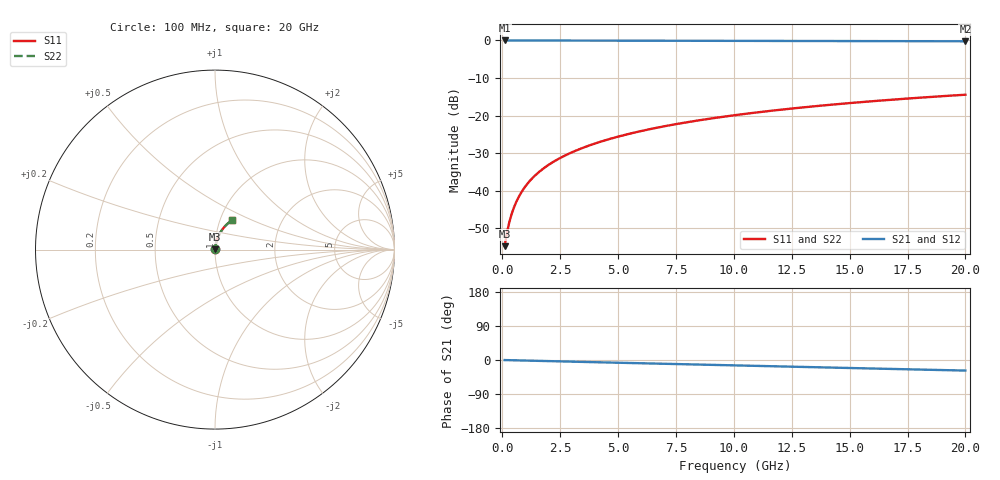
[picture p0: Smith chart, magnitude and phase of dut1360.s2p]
! Touchstone file exported from HFSS 2026.1.0
!  File:  C:/ffzhzh/LocalFiles/Ansys_Project_Files/temp_train_BSMRDL_1360_1783179178_51560.aedt
!  Generated:  11:34:11 PM Jul  4, 2026
!  Design:  BSMRDL
!  Project:  temp_train_BSMRDL_1360_1783179178_51560
! Variables:
!  h_bsmrdl = 5.55um
!  h_ox = 20um
!  h_rdl = 5um
!  h_sub = 80um
!  h_tmrdl = 5um
!  h_tsv = 80um
!  h_via = 3um
!  l_bsmrdl = 438.07um
!  l_sub = 838.07um
!  l_tmrdl = 200um
!  m_sub = 200um
!  pitch = 41.68um
!  r_tsv = 6um
!  s_tmrdl = 10um
!  w_bsmrdl = 24.59um
!  w_sub = 500um
!  w_tmrdl = 12um
!  x_tsv_center1 = 206um
!  x_tsv_center2 = 668.66um
!  x_tsv_center3 = 880.66um
!  x_tsv_center4 = 1343.32um
!  x_tsv_center5 = 1555.32um
!  x_tsv_center6 = 2017.98um
# GHz S MA R 50.000000
! Terminal data exported
! Port[1] = BSM_RDL1_1_T1
! Port[2] = BSM_RDL1_1_T2
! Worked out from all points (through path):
!   200 points, 100 MHz to 20 GHz, reference 50 ohm
!   highest |S21| = -0.01 dB at 100 MHz (marker M1); lowest = -0.2 dB at 20 GHz (marker M2)
!   group delay of S21, straight-line fit = 3.87 ps
!   lowest |S11| = -54.7 dB at 100 MHz (marker M3), VSWR 1.00, Z = 50.1 + j0.126 ohm
!   |S11| at or under -10 dB: start of sweep to end of sweep
!   |S22| runs from -54.7 to -14.4 dB; largest |S21 - S12| = 2.7e-15
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0.1  0.001832 43.4  0.9987 -0.2  0.9987 -0.2  0.001832 43.4
! Gamma 0 0 0 0
! Port Impedance 50 0 50 0
0.2  0.002751 62.5  0.9985 -0.3  0.9985 -0.3  0.002754 62.5
0.3  0.003788 70.7  0.9984 -0.5  0.9984 -0.5  0.003793 70.7
0.4  0.004867 74.8  0.9984 -0.6  0.9984 -0.6  0.004872 74.8
0.5  0.005962 77.2  0.9983 -0.7  0.9983 -0.7  0.005968 77.2
0.6  0.007066 78.6  0.9982 -0.9  0.9982 -0.9  0.007072 78.6
0.8  0.009274 80.1  0.9981 -1.2  0.9981 -1.2  0.00928 80.2
1.1  0.01256 81.0  0.998 -1.6  0.998 -1.6  0.01257 81.0
1.3  0.01472 81.2  0.9979 -1.9  0.9979 -1.9  0.01473 81.2
1.5  0.01686 81.3  0.9978 -2.2  0.9978 -2.2  0.01687 81.3
1.8  0.02004 81.2  0.9976 -2.6  0.9976 -2.6  0.02004 81.2
2.1  0.02317 81.0  0.9973 -3.1  0.9973 -3.1  0.02317 81.0
2.7  0.02935 80.6  0.9968 -3.9  0.9968 -3.9  0.02935 80.6
3.5  0.03747 79.9  0.9961 -5.1  0.9961 -5.1  0.03747 79.9
4.2  0.04451 79.2  0.9954 -6.1  0.9954 -6.1  0.04451 79.2
5  0.05248 78.4  0.9946 -7.2  0.9946 -7.2  0.05248 78.4
6.8  0.07016 76.3  0.9927 -9.7  0.9927 -9.7  0.07016 76.3
8.3  0.08466 74.5  0.991 -11.8  0.991 -11.8  0.08466 74.5
10.1  0.1018 72.3  0.9889 -14.3  0.9889 -14.3  0.1018 72.3
13.4  0.1323 68.1  0.9844 -18.9  0.9844 -18.9  0.1323 68.1
16.7  0.1616 63.9  0.9793 -23.4  0.9793 -23.4  0.1616 63.9
20  0.1895 59.6  0.9737 -27.9  0.9737 -27.9  0.1895 59.7
